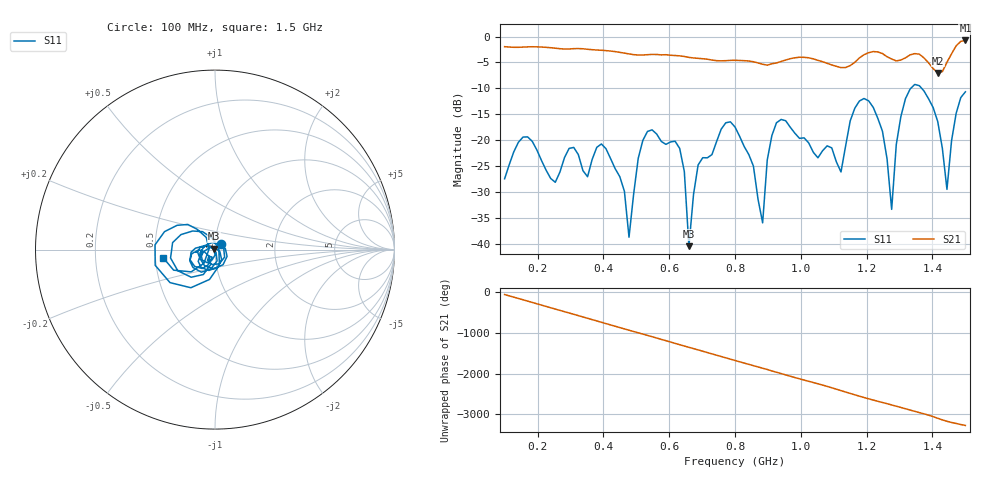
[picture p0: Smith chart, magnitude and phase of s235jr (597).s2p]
! NanoVNA-App
! Date: 2025-09-25 15:08:49
! Start: 100MHz Stop: 1,5GHz Points: 101
! S-Parameter data: F S11 S21 S12 S22
# Hz S RI R 50
!  Frequency  S11_Real  S11_Imag  S21_Real  S21_Imag  S12_Real  S12_Imag  S22_Real  S22_Imag
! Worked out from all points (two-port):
!   101 points, 100 MHz to 1.5 GHz, reference 50 ohm
!   highest |S21| = -0.76 dB at 1.5 GHz (marker M1); lowest = -7.0 dB at 1.416 GHz (marker M2)
!   |S21| within 3 dB of the highest: start of sweep to 634.9 MHz; 1.186 GHz to 1.259 GHz (72.23 MHz wide, 5.91 % of centre) (the widest 2 of 4)
!   lowest |S11| = -40.5 dB at 660 MHz (marker M3), VSWR 1.02, Z = 49.2 + j0.526 ohm
!   |S11| at or under -10 dB: start of sweep to 1.334 GHz; 1.367 GHz to end of sweep
!   S12 and S22 are empty: the file has one direction only
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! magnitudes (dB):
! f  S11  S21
! 100 MHz  -27.5  -2.0
! 156 MHz  -19.4  -2.0
! 338 MHz  -25.9  -2.4
! 408 MHz  -21.7  -2.7
! 478 MHz  -38.7  -3.4
! 520 MHz  -20.1  -3.6
! 576 MHz  -20.3  -3.5
! 632 MHz  -21.6  -3.7
! 660 MHz  -40.5  -4.0
! 688 MHz  -24.8  -4.2
! 800 MHz  -17.5  -4.6
! 884 MHz  -36.0  -5.4
! 926 MHz  -16.7  -5.1
! 1.038 GHz  -22.4  -4.3
! 1.122 GHz  -26.2  -6.0
! 1.206 GHz  -12.4  -3.1
! 1.248 GHz  -18.3  -3.3
! 1.276 GHz  -33.4  -4.3
! 1.332 GHz  -10.1  -3.5
! 1.416 GHz  -16.4  -7.0
! 1.444 GHz  -29.5  -5.0
! 1.5 GHz  -10.7  -0.8
